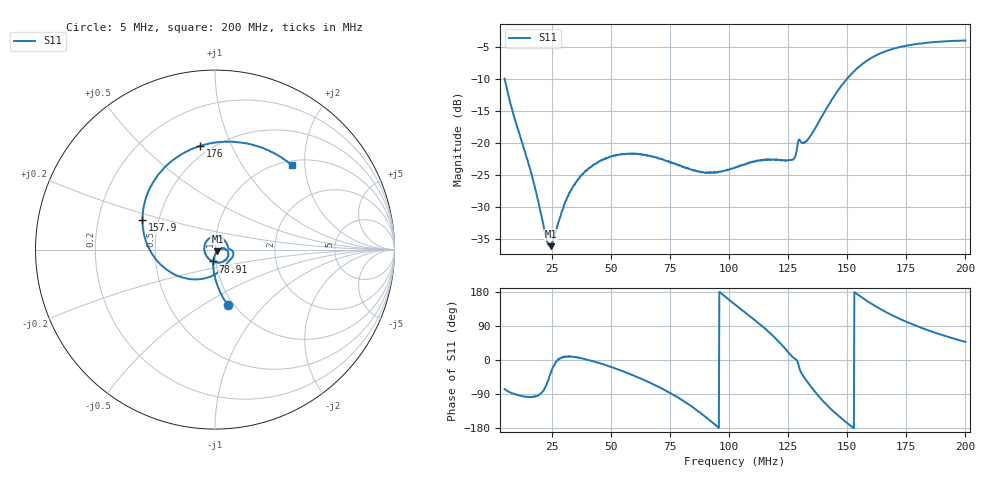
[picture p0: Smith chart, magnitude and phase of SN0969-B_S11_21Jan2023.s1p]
# Hz S DB R 50
! CMT, M5045, 22160017, 22.4.3/2
! Date: 1/21/2023 20:33:14
! Data: Format (Calibration Info)
! Freq	S11:dB/Ang(F1)
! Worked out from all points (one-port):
!   1001 points, 5 MHz to 200 MHz, reference 50 ohm
!   lowest |S11| = -36.1 dB at 24.7 MHz (marker M1), VSWR 1.03, Z = 51.3 - j0.851 ohm
!   |S11| at or under -10 dB: 5.056 MHz to 149.7 MHz (144.7 MHz wide, 187 % of centre)
!   S11 on the Smith chart (normalised r, x): 5 MHz: 0.94, -0.65; 78.91 MHz: 0.97, -0.13; 157.9 MHz: 0.41, +0.16; 176 MHz: 0.44, +0.77; 200 MHz: 1.08, +1.71
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5000000  -9.91 -76.7
8510000  -15.18 -88.5
1.2215e7  -19.68 -95.1
1.7675e7  -26.68 -96.0
2.2745e7  -34.82 -65.0
2.4695e7  -36.12 -32.0
2.9375e7  -30.52 7.9
3.3275e7  -27.32 8.9
3.854e7  -24.62 3.2
5.375e7  -21.80 -26.5
6.467e7  -21.90 -54.9
7.8125e7  -23.38 -98.1
7.8905e7  -23.45 -100.9
9.041e7  -24.55 -151.9
1.025e8  -23.82 146.2
1.1576e8  -22.52 79.7
1.26875e8  -22.58 7.8
1.29605e8  -19.41 -18.5
1.337e8  -19.25 -62.7
1.41305e8  -14.54 -118.3
1.46375e8  -11.59 -148.0
1.5125e8  -9.38 -172.5
1.5788e8  -7.21 158.0
1.6724e8  -5.50 123.7
1.75625e8  -4.70 99.1
1.76015e8  -4.67 98.3
1.8674e8  -4.19 73.0
2e8  -3.93 47.8
